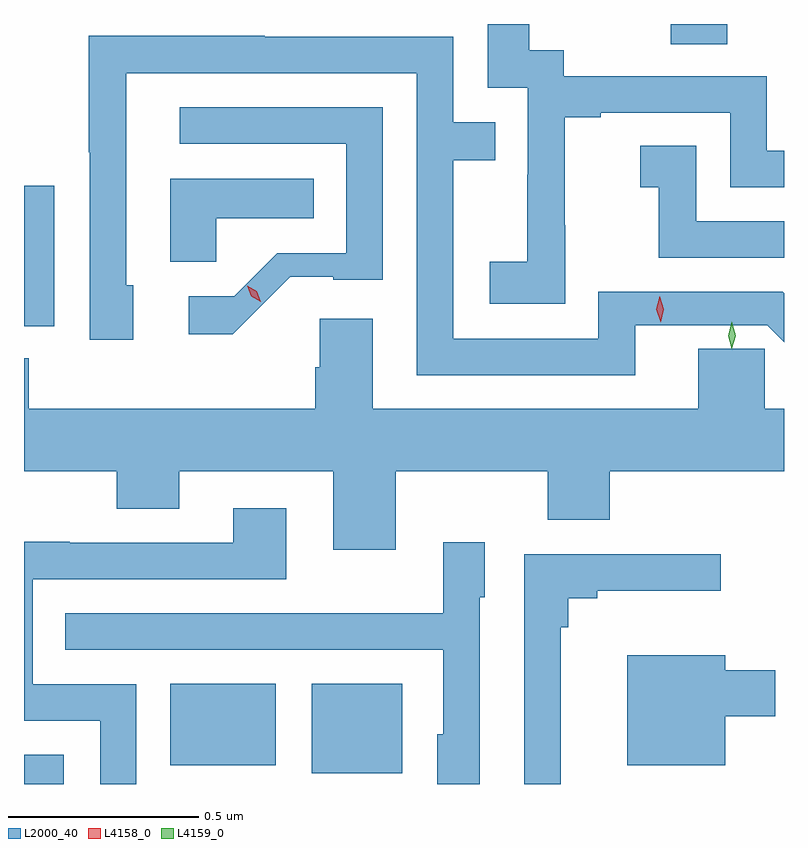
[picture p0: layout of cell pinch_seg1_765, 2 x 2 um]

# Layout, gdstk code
import gdstk
lib = gdstk.Library(unit=1e-6, precision=1e-09)
def R(c, l, rs):  # rectangles x0, y0, x1, y1
    for r in rs: c.add(gdstk.rectangle(r[:2], r[2:], *l))
def P(c, l, *ps):  # polygons
    for p in ps: c.add(gdstk.Polygon(p, *l))
L2000_40 = (2000, 40)
L4158_0 = (4158, 0)
L4159_0 = (4159, 0)

pinch_seg1_765 = lib.new_cell('pinch_seg1_765')
R(pinch_seg1_765, L2000_40, [(831.421,541.585,831.525,541.662), (832.178,541.613,832.417,541.849), (831.806,541.634,832.084,541.849), (831.421,542.79,831.501,543.16), (833.123,543.532,833.271,543.585)])
P(pinch_seg1_765, L2000_40, [(832.845,543.055),(832.844,543.055),(832.844,543.339),(832.939,543.339),(832.939,543.351),(833.28,543.351),(833.28,543.156),(833.421,543.156),(833.421,543.252),(833.376,543.252),(833.376,543.447),(832.842,543.447),(832.842,543.516),(832.75,543.516),(832.75,543.585),(832.641,543.585),(832.641,543.417),(832.746,543.417),(832.746,543.188),(832.745,543.188),(832.745,542.959),(832.647,542.959),(832.647,542.849),(832.845,542.849)],
  [(833.029,542.792),(833.377,542.792),(833.421,542.748),(833.421,542.877),(833.418,542.88),(832.932,542.88),(832.932,542.757),(832.551,542.757),(832.551,543.226),(832.661,543.226),(832.661,543.327),(832.551,543.327),(832.551,543.552),(832.055,543.552),(832.055,543.554),(831.592,543.554),(831.592,543.247),(831.594,543.247),(831.594,542.754),(831.709,542.754),(831.709,542.898),(831.69,542.898),(831.69,543.456),(832.455,543.456),(832.455,542.661),(833.029,542.661)],
  [(832.121,542.92),(832.235,542.92),(832.235,542.912),(832.365,542.912),(832.365,543.366),(831.831,543.366),(831.831,543.27),(832.269,543.27),(832.269,542.982),(832.088,542.982),(831.974,542.868),(831.855,542.868),(831.855,542.769),(831.97,542.769)],
  [(833.421,543.066),(833.19,543.066),(833.19,543.265),(833.043,543.265),(833.043,543.155),(833.092,543.155),(833.092,542.97),(833.421,542.97)],
  [(831.927,543.074),(832.184,543.074),(832.184,543.178),(831.806,543.178),(831.806,542.959),(831.927,542.959)],
  [(832.399,542.408),(832.799,542.408),(832.799,542.28),(832.963,542.28),(832.963,542.408),(833.421,542.408),(833.421,542.572),(833.37,542.572),(833.37,542.731),(833.195,542.731),(833.195,542.572),(832.339,542.572),(832.339,542.809),(832.199,542.809),(832.199,542.682),(832.187,542.682),(832.187,542.572),(831.434,542.572),(831.434,542.705),(831.421,542.705),(831.421,542.408),(831.665,542.408),(831.665,542.309),(831.829,542.309),(831.829,542.408),(832.235,542.408),(832.235,542.202),(832.399,542.202)],
  [(831.717,541.848),(831.444,541.848),(831.444,542.124),(832.111,542.124),(832.111,542.311),(831.971,542.311),(831.971,542.22),(831.541,542.22),(831.541,542.222),(831.421,542.222),(831.421,541.752),(831.621,541.752),(831.621,541.585),(831.717,541.585)],
  [(832.62,542.076),(832.633,542.076),(832.633,542.221),(832.524,542.221),(832.524,542.035),(832.207,542.035),(832.207,542.034),(831.529,542.034),(831.529,541.938),(832.524,541.938),(832.524,541.716),(832.508,541.716),(832.508,541.585),(832.62,541.585)],
  [(832.834,541.997),(832.853,541.997),(832.853,542.074),(832.93,542.074),(832.93,542.093),(833.254,542.093),(833.254,542.19),(832.737,542.19),(832.737,541.585),(832.834,541.585)],
  [(833.266,541.763),(833.398,541.763),(833.398,541.885),(833.266,541.885),(833.266,541.924),(833.009,541.924),(833.009,541.634),(833.266,541.634)])
P(pinch_seg1_765, L4158_0, [(832.044,542.854),(832.019,542.868),(832.008,542.896),(832.008,542.896),(832.008,542.896),(832.034,542.882),(832.044,542.854),(832.044,542.854)],
  [(833.096,542.8),(833.096,542.8),(833.085,542.834),(833.094,542.868),(833.094,542.869),(833.094,542.868),(833.105,542.834),(833.096,542.8)])
P(pinch_seg1_765, L4159_0, [(833.284,542.729),(833.284,542.73),(833.274,542.765),(833.284,542.801),(833.284,542.801),(833.284,542.801),(833.294,542.765),(833.284,542.73)])

lib.write_gds('pinch_seg1_765.gds')
